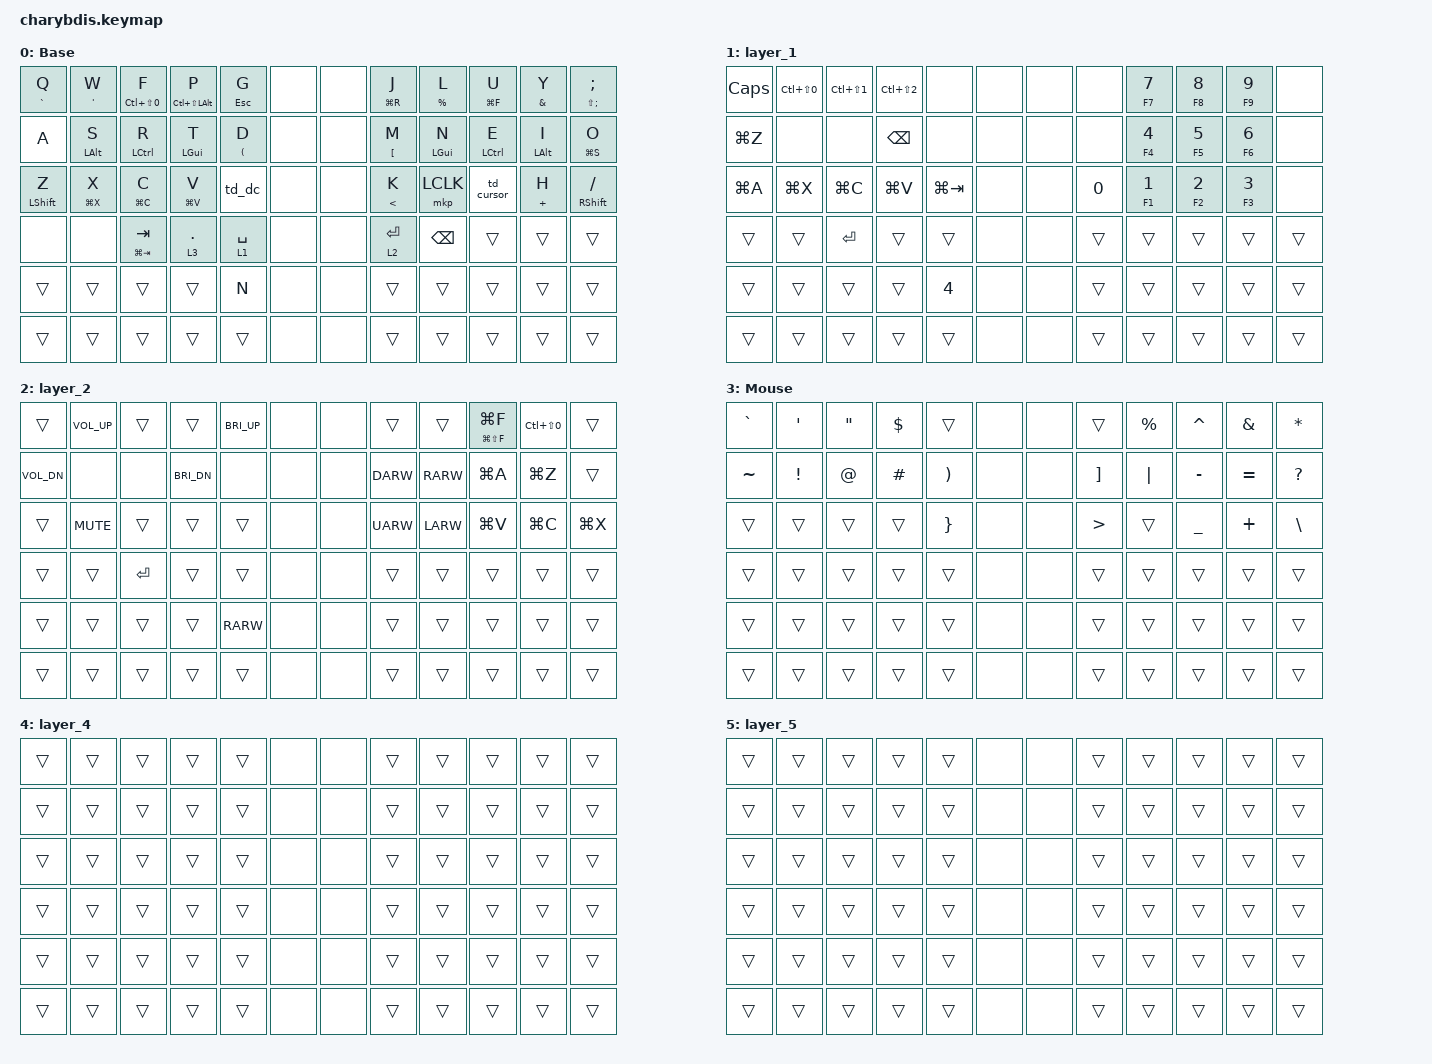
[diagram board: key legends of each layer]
#include <behaviors.dtsi>
#include <dt-bindings/zmk/bt.h>
#include <dt-bindings/zmk/keys.h>
#include <dt-bindings/zmk/mouse.h>

&lt {
    tapping-term-ms = <200>;
    flavor = "balanced";
    quick-tap-ms = <150>;
};

/ {

    behaviors {
            hm: homerow_mod {
                    compatible = "zmk,behavior-hold-tap";
                    label = "HM";
                    #binding-cells = <2>;
                    flavor = "tap-preferred";
                    tapping-term-ms = <170>;   // prueba 160–180
                    quick-tap-ms    = <155>;   // ~15 ms menos que tapping-term
                    bindings = <&kp>, <&kp>;   // hold, tap
            };

                hmsh: homerow_mod_short {
                    compatible = "zmk,behavior-hold-tap";
                    label = "HMSH";
                    #binding-cells = <2>;
                    flavor = "tap-preferred";
                    tapping-term-ms = <155>;
                    quick-tap-ms    = <130>;
                    bindings = <&kp>, <&kp>;
                };

                hm_right: homerow_mod_right {
                    compatible = "zmk,behavior-hold-tap";
                    label = "HM_R";
                    #binding-cells = <2>;
                    flavor = "balanced";      // o "tap-preferred" si quieres menos holds accidentales
                    tapping-term-ms = <190>;  // prueba 185–200 según tu mano/dedos
                    quick-tap-ms    = <165>;  // ~15–25 ms por debajo de tapping-term
                    bindings = <&kp>, <&kp>;  // hold, tap
                };

                hm_s: homerow_mod_special {
                    compatible = "zmk,behavior-hold-tap";
                    label = "HM_R";
                    #binding-cells = <2>;
                    flavor = "balanced";      // o "tap-preferred" si quieres menos holds accidentales
                    tapping-term-ms = <210>;  // prueba 185–200 según tu mano/dedos
                    quick-tap-ms    = <180>;  // ~15–25 ms por debajo de tapping-term
                    bindings = <&kp>, <&kp>;  // hold, tap
                };

                td_dc: td_v_cot_comma {
                    compatible = "zmk,behavior-tap-dance";
                    label = "TD_DC";
                    #binding-cells = <0>;
                    tapping-term-ms = <175>;
                    bindings = <&hm LBRC B>, <&kp COMMA>;
                };

        td_cursor: td_scroll_or_cursor {
            compatible = "zmk,behavior-tap-dance";
            #binding-cells = <0>;
            bindings = <&lt 9 ESC>, <&mkp RCLK>; // hold, tap, double_tap
        };

    };

    combos {
        compatible = "zmk,combos";

        escc {
            bindings = <&kp ESC>;
            key-positions = <17 18>;
            layers = <0>;
        };
    };

    keymap {
        compatible = "zmk,keymap";

        Base {
            bindings = <
 &hm GRAVE Q            &hm APOS W                &hm LC(LS(N0)) F          &hm LC(LS(LALT)) P      &hm ESC G                   &none           &none       &hm LG(R) J         &hm PRCNT L             &hm LG(F) U                     &hm AMPS Y                      &hm LS(SEMI)  SEMI
 &kp A                  &hm LALT S                &hm LCTRL R               &hm_s LGUI T            &hm LPAR D                  &none           &none       &hm LBKT M          &hm_right LGUI N        &hm_right LCTRL E               &hm_right LALT I                &hm LG(S) O
 &hmsh LSHFT Z          &hm LG(X) X               &hm  LG(C) C              &hm LG(V) V             &td_dc                      &none           &none       &hm LT K            &mkp LCLK               &td_cursor                      &hm_right PLUS H                &hmsh RSHFT FSLH
 &none                  &none                     &mt LG(TAB) TAB           &lt 3 DOT               &lt 1 SPACE                 &none           &none       &lt 2 RETURN        &kp BACKSPACE           &trans                          &trans                          &trans
 &trans                 &trans                    &trans                    &trans                  &kp N                       &none           &none       &trans              &trans                  &trans                          &trans                          &trans
 &trans                 &trans                    &trans                    &trans                  &trans                      &none           &none       &trans              &trans                  &trans                          &trans                          &trans
            >;

            trackball-bindings = <&tmv_coarse>;
        };

        layer_1 {
            bindings = <
&kp CAPS                &kp LC(LS(N0))          &kp LC(LS(N1))          &kp LC(LS(N2))              &none           &none           &none       &none               &hm F7 N7               &hm F8 N8                       &hm F9 N9                       &none
&kp LG(Z)               &none                   &none                   &kp BACKSPACE               &none           &none           &none       &none               &hm F4 N4               &hm F5 N5                       &hm F6 N6                       &none
&kp LG(A)               &kp LG(X)               &kp LG(C)               &kp LG(V)                   &kp LG(TAB)     &none           &none       &kp N0              &hm F1 N1               &hm F2 N2                       &hm F3 N3                       &none
&trans                  &trans                  &kp RETURN              &trans                      &trans          &none           &none       &trans              &trans                  &trans                          &trans                          &trans
&trans                  &trans                  &trans                  &trans                      &kp N4       &none           &none       &trans              &trans                  &trans                          &trans                          &trans
&trans                  &trans                  &trans                  &trans                      &trans          &none           &none       &trans              &trans                  &trans                          &trans                          &trans
            >;
        };

        layer_2 {
            bindings = <
&trans                  &kp C_VOL_UP            &trans                  &trans                      &kp C_BRI_UP    &none           &none       &trans              &trans                  &hm LG(LS(F)) LG(F)             &kp LC(LS(N0))                  &trans
&kp C_VOL_DN            &none                   &none                   &kp C_BRI_DN                &none           &none           &none       &kp DARW            &kp RARW                &kp LG(A)                       &kp LG(Z)                       &trans
&trans                  &kp C_MUTE              &trans                  &trans                      &trans          &none           &none       &kp UARW            &kp LARW                &kp LG(V)                       &kp LG(C)                       &kp LG(X)
&trans                  &trans                  &kp RETURN              &trans                      &trans          &none           &none       &trans              &trans                  &trans                          &trans                          &trans
&trans                  &trans                  &trans                  &trans                      &kp RARW        &none           &none       &trans              &trans                  &trans                          &trans                          &trans
&trans                  &trans                  &trans                  &trans                      &trans          &none           &none       &trans              &trans                  &trans                          &trans                          &trans
            >;
        };

        Mouse {
            bindings = <
&kp GRAVE               &kp APOS                &kp DQT                 &kp DLLR                    &trans          &none           &none       &trans              &kp PRCNT               &kp CARET                       &kp AMPS                        &kp ASTRK
&kp TILDE               &kp EXCL                &kp AT                  &kp HASH                    &kp RPAR        &none           &none       &kp RBKT            &kp PIPE                &kp MINUS                       &kp EQUAL                       &kp QMARK
&trans                  &trans                  &trans                  &trans                      &kp RBRC        &none           &none       &kp GT              &trans                  &kp UNDER                       &kp PLUS                        &kp BSLH
&trans                  &trans                  &trans                  &trans                      &trans          &none           &none       &trans              &trans                  &trans                          &trans                          &trans
&trans                  &trans                  &trans                  &trans                      &trans          &none           &none       &trans              &trans                  &trans                          &trans                          &trans
&trans                  &trans                  &trans                  &trans                      &trans          &none           &none       &trans              &trans                  &trans                          &trans                          &trans
            >;
        };

        layer_4 {
            bindings = <
&trans                  &trans                  &trans                  &trans                      &trans          &none           &none       &trans              &trans                  &trans                          &trans                          &trans
&trans                  &trans                  &trans                  &trans                      &trans          &none           &none       &trans              &trans                  &trans                          &trans                          &trans
&trans                  &trans                  &trans                  &trans                      &trans          &none           &none       &trans              &trans                  &trans                          &trans                          &trans
&trans                  &trans                  &trans                  &trans                      &trans          &none           &none       &trans              &trans                  &trans                          &trans                          &trans
&trans                  &trans                  &trans                  &trans                      &trans          &none           &none       &trans              &trans                  &trans                          &trans                          &trans
&trans                  &trans                  &trans                  &trans                      &trans          &none           &none       &trans              &trans                  &trans                          &trans                          &trans
            >;

            trackball-bindings = <&tsl>;//滚轮层
        };

        layer_5 {
            bindings = <
&trans                  &trans                  &trans                  &trans                      &trans          &none           &none       &trans              &trans                  &trans                          &trans                          &trans
&trans                  &trans                  &trans                  &trans                      &trans          &none           &none       &trans              &trans                  &trans                          &trans                          &trans
&trans                  &trans                  &trans                  &trans                      &trans          &none           &none       &trans              &trans                  &trans                          &trans                          &trans
&trans                  &trans                  &trans                  &trans                      &trans          &none           &none       &trans              &trans                  &trans                          &trans                          &trans
&trans                  &trans                  &trans                  &trans                      &trans          &none           &none       &trans              &trans                  &trans                          &trans                          &trans
&trans                  &trans                  &trans                  &trans                      &trans          &none           &none       &trans              &trans                  &trans                          &trans                          &trans
            >;

            trackball-bindings = <&tmv_fine>;//精准指针层
        };
    };
};
